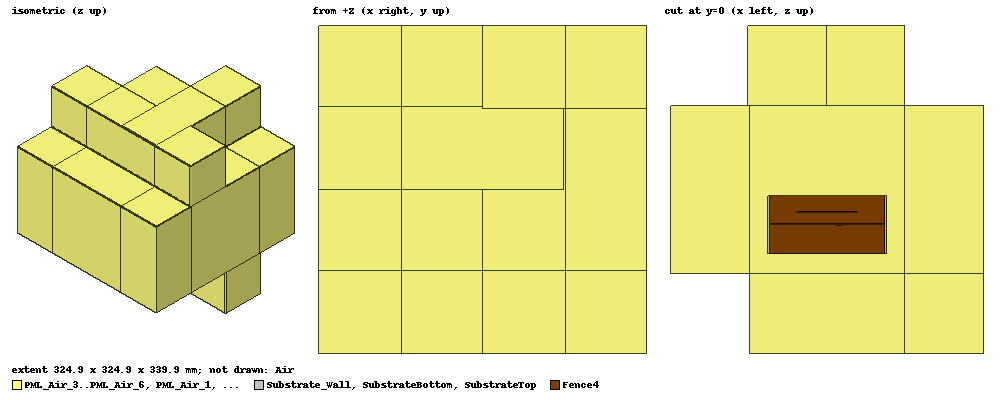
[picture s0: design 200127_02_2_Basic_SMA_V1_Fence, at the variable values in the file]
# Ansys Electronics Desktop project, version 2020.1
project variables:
  $Er = 4.45
  $W = 10mm
  $L = 10mm
  $h = 1.6mm
  $y0 = 9mm
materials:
  FR4_new_Adj: permittivity=$Er dielectric_loss_tangent=0.019 delta_H_freq=1000000
  PMLGroup1_XYZ_9: permittivity{anisotropic component1=1.1629501 component2=1.1629501 component3=1.1629501} permeability{anisotropic component1=1.1629501 component2=1.1629501 component3=1.1629501} dielectric_loss_tangent{anisotropic component1=1 component2=1 component3=1} magnetic_loss_tangent{anisotropic component1=1 component2=1 component3=1}
  PMLGroup1_XZ_9: permittivity{anisotropic component1=1 component2=0.01 component3=1} permeability{anisotropic component1=1 component2=0.01 component3=1} dielectric_loss_tangent{anisotropic component1=0 component2=270.4906 component3=0} magnetic_loss_tangent{anisotropic component1=0 component2=270.4906 component3=0}
  PMLGroup1_YZ_9: permittivity{anisotropic component1=0.01 component2=1 component3=1} permeability{anisotropic component1=0.01 component2=1 component3=1} dielectric_loss_tangent{anisotropic component1=270.4906 component2=0 component3=0} magnetic_loss_tangent{anisotropic component1=270.4906 component2=0 component3=0}
  PMLGroup1_Z_9: permittivity{anisotropic component1=1.1629501 component2=1.1629501 component3=0.42994105} permeability{anisotropic component1=1.1629501 component2=1.1629501 component3=0.42994105} dielectric_loss_tangent{anisotropic component1=1 component2=1 component3=-1} magnetic_loss_tangent{anisotropic component1=1 component2=1 component3=-1}
  Teflon (tm): permittivity=2.1 dielectric_loss_tangent=0.001
  copper: permeability=0.999991 conductivity=58000000
  vacuum: permittivity=1
  PMLGroup1_Z_10: permittivity{anisotropic component1=1.1629501 component2=1.1629501 component3=0.42994105} permeability{anisotropic component1=1.1629501 component2=1.1629501 component3=0.42994105} dielectric_loss_tangent{anisotropic component1=1 component2=1 component3=-1} magnetic_loss_tangent{anisotropic component1=1 component2=1 component3=-1}
  PMLGroup1_XZ_10: permittivity{anisotropic component1=1 component2=0.01 component3=1} permeability{anisotropic component1=1 component2=0.01 component3=1} dielectric_loss_tangent{anisotropic component1=0 component2=270.4906 component3=0} magnetic_loss_tangent{anisotropic component1=0 component2=270.4906 component3=0}
  PMLGroup1_YZ_10: permittivity{anisotropic component1=0.01 component2=1 component3=1} permeability{anisotropic component1=0.01 component2=1 component3=1} dielectric_loss_tangent{anisotropic component1=270.4906 component2=0 component3=0} magnetic_loss_tangent{anisotropic component1=270.4906 component2=0 component3=0}
  PMLGroup1_XYZ_10: permittivity{anisotropic component1=1.1629501 component2=1.1629501 component3=1.1629501} permeability{anisotropic component1=1.1629501 component2=1.1629501 component3=1.1629501} dielectric_loss_tangent{anisotropic component1=1 component2=1 component3=1} magnetic_loss_tangent{anisotropic component1=1 component2=1 component3=1}

design 200127_02_2_Basic_SMA_V1_Fence (HFSS, DrivenModal, model units mm)
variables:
  W = 34.4mm  # optimise 16.75mm..50.25mm
  L = W
  y0 = 3mm
  Lg = 40mm
  Wg = 40mm
  del_gnd = 122.45mm
  CoaxPin_R = 0.65mm
  Copper_T = 0.035mm
  CoaxLen = 1mm
  CoaxInner_R = 2.075mm
  PCB_T = 1.55mm
  Patch1_H = PCB_T
  Probe_y = W2/2-0.7mm
  ScaleFac = 1.75
  W2 = 28.76mm  # optimise 14mm..42mm
  L2 = W2
  Patch2_H = 3.235mm
  EBG_miniY = EBG_miniX
  EBG_Gap = 0.2mm
  EBG_miniX = 6.6mm
  EBG_Y = 2*(EBG_miniY+EBG_minGap)-EBG_Gap
  Sub_Z = 3.2mm
  GND_Z = 0.035mm
  EBG_X = 2*(EBG_miniX+EBG_minGap)-EBG_Gap
  Sub_Y = EBG_Y+EBG_Gap/2
  Sub_X = EBG_X + EBG_Gap/2
  EBG_Ncells = 5
  EBG_minGap = 0.2mm
  EBG_Nrows = 1
  EBG_Rpin = 0.5mm
  EBG_minRpin = 0.8mm
  EBG_Pin_Gap = 0.7mm
  diff = 2.5mm
  aGap = 11mm
  xNum = 1
  yNum = 1
  Wp = 62.5mm
  Lp = Wp
  wh = 60mm
  wz = -30mm
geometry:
  Coax = cylinder(axis=Z, base_centre=(0, 0, 0), radius=CoaxInner_R, height=-CoaxLen)
  Air [vacuum] = box(corner=(-Wg*4/2, -Lg*4/2, -CoaxLen-50mm), size=(Wg*(xNum+3), Lg*(yNum+3), 175mm))
  Outer_conductor = cylinder(axis=Z, base_centre=(0, 0, 0), radius=CoaxInner_R+0.5mm, height=-CoaxLen)
  Coax1 = cylinder(axis=Z, base_centre=(0, 0, 0), radius=CoaxInner_R, height=-CoaxLen)
  Outer_conductor.subtract(Coax1)
  coordinate_system RelativeProbe = origin=(0mm, 0, 0mm) x=(1mm, 0mm, 0mm) y=(0mm, 1mm, 0mm)
  GND = box(corner=(-Wg*3/2, -Lg*3/2, 0mm), size=(Wg*(xNum+2), Lg*(yNum+2), -Copper_T))
  GND_Cutout = cylinder(axis=Z, base_centre=(0mm, 0mm, 0mm), radius=CoaxInner_R, height=-Copper_T)
  Coax_Pin_Dielectric_Cut = cylinder(axis=Z, base_centre=(0, 0, Patch1_H), radius=CoaxPin_R, height=-(CoaxLen+Patch1_H))
  Coax.subtract(Coax_Pin_Dielectric_Cut)
  [Coax, GND_Cutout, Outer_conductor].move(0mm, Probe_y, 0mm) in RelativeProbe
  GND_Cutout_1 = GND_Cutout.duplicate_around_axis(axis=Z, angle=-90deg, total=2) in RelativeProbe
  GND_Cutout.delete()
  Outer_conductor_1 = Outer_conductor.duplicate_around_axis(axis=Z, angle=-90deg, total=2) in RelativeProbe
  Outer_conductor.delete()
  Coax_1 [Teflon (tm)] = Coax.duplicate_around_axis(axis=Z, angle=-90deg, total=2) in RelativeProbe
  Coax.delete()
  SubstrateBottom [FR4_new_Adj] = box(corner=(-119.93mm/2, -119.93mm/2, Patch1_H), size=(Wg*(xNum+2)-0.07mm, Lg*(yNum+2)-0.07mm, -PCB_T))
  coordinate_system RelativeProbe1 = origin=(0mm, 0, 0mm) x=(1mm, 0mm, 0mm) y=(0mm, 1mm, 0mm)
  Cylinder5 = cylinder(axis=Z, base_centre=(0, Probe_y, 0), radius=CoaxPin_R, height=PCB_T) in RelativeProbe1
  Cylinder5.rotate(axis=Z, angle=-90deg) in RelativeProbe1
  SubstrateBottom.move(0mm, 0mm, -(Patch1_H-PCB_T))
  Patch2 [copper] = box(corner=(-W2/2, -L2/2, PCB_T), size=(W2, L2, Copper_T))
  coordinate_system RelativeProbe2 = origin=(0mm, 0, 0mm) x=(1mm, 0mm, 0mm) y=(0mm, 1mm, 0mm)
  coordinate_system RelativeProbe3 = origin=(0mm, 0, 0mm) x=(1mm, 0mm, 0mm) y=(0mm, 1mm, 0mm)
  coordinate_system RelativeProbe4 = origin=(0mm, 0, 0mm) x=(1mm, 0mm, 0mm) y=(0mm, 1mm, 0mm)
  coordinate_system RelativeProbe5 = origin=(0mm, 0, 0mm) x=(1mm, 0mm, 0mm) y=(0mm, 1mm, 0mm)
  coordinate_system RelativeProbe6 = origin=(0mm, 0, 0mm) x=(1mm, 0mm, 0mm) y=(0mm, 1mm, 0mm)
  coordinate_system RelativeProbe7 = origin=(0mm, 0, 0mm) x=(1mm, 0mm, 0mm) y=(0mm, 1mm, 0mm)
  coordinate_system RelativeProbe8 = origin=(0mm, 0, 0mm) x=(1mm, 0mm, 0mm) y=(0mm, 1mm, 0mm)
  coordinate_system RelativeProbe9 = origin=(0mm, 0, 0mm) x=(1mm, 0mm, 0mm) y=(0mm, 1mm, 0mm)
  SubstrateTop [FR4_new_Adj] = box(corner=(-Wp/2, -Lp/2, PCB_T+Copper_T+aGap), size=(Wp, Lp, PCB_T))
  coordinate_system RelativeProbe10 = origin=(0mm, 0, 0mm) x=(1mm, 0mm, 0mm) y=(0mm, 1mm, 0mm)
  Patch3 [copper] = box(corner=(-W/2, -L/2, PCB_T*2+Copper_T+aGap), size=(W, L, Copper_T))
  Coax_Pin [copper] = cylinder(axis=Z, base_centre=(0, 0, -CoaxLen), radius=CoaxPin_R, height=CoaxLen+PCB_T) in RelativeProbe9
  Coax_Pin.move(Probe_y, 0, 0mm)
  coordinate_system RelativeProbe11 = origin=(0mm, 0, 0mm) x=(1mm, 0mm, 0mm) y=(0mm, 1mm, 0mm) in RelativeProbe9
  [Coax_1, Patch3, Patch2, Coax_Pin, Outer_conductor_1, GND_Cutout_1, Cylinder5].rotate(axis=Z, angle=180deg)
  coordinate_system RelativeProbe13 = origin=(0mm, 0, 0mm) x=(1mm, 0mm, 0mm) y=(0mm, 1mm, 0mm)
  Cylinder6 = cylinder(axis=Z, base_centre=(0, Probe_y, 0), radius=CoaxPin_R, height=PCB_T) in RelativeProbe13
  Cylinder6.rotate(axis=Z, angle=-90deg) in RelativeProbe13
  Cylinder6.rotate(axis=Z, angle=270deg)
  coordinate_system RelativeProbe12 = origin=(0mm, 0, 0mm) x=(1mm, 0mm, 0mm) y=(0mm, 1mm, 0mm)
  coordinate_system RelativeProbe14 = origin=(0mm, 0, 0mm) x=(1mm, 0mm, 0mm) y=(0mm, 1mm, 0mm)
  coordinate_system RelativeProbe16 = origin=(0mm, 0, 0mm) x=(1mm, 0mm, 0mm) y=(0mm, 1mm, 0mm)
  Cylinder7 = cylinder(axis=Z, base_centre=(0, Probe_y, 0), radius=CoaxPin_R, height=PCB_T) in RelativeProbe16
  Cylinder7.rotate(axis=Z, angle=-90deg) in RelativeProbe16
  Cylinder7.rotate(axis=Z, angle=90deg)
  coordinate_system RelativeProbe15 = origin=(0mm, 0, 0mm) x=(1mm, 0mm, 0mm) y=(0mm, 1mm, 0mm)
  coordinate_system RelativeProbe17 = origin=(0mm, 0, 0mm) x=(1mm, 0mm, 0mm) y=(0mm, 1mm, 0mm)
  coordinate_system RelativeProbe19 = origin=(0mm, 0, 0mm) x=(1mm, 0mm, 0mm) y=(0mm, 1mm, 0mm)
  Cylinder8 = cylinder(axis=Z, base_centre=(0, Probe_y, 0), radius=CoaxPin_R, height=PCB_T) in RelativeProbe19
  Cylinder8.rotate(axis=Z, angle=-90deg) in RelativeProbe19
  coordinate_system RelativeProbe18 = origin=(0mm, 0, 0mm) x=(1mm, 0mm, 0mm) y=(0mm, 1mm, 0mm)
  coordinate_system RelativeProbe20 = origin=(0mm, 0, 0mm) x=(1mm, 0mm, 0mm) y=(0mm, 1mm, 0mm)
  Cylinder6.move(200mm, 0mm, 0mm)
  Cylinder7.move(0mm, 200mm, 0mm)
  Cylinder8.move(200mm, 200mm, 0mm)
  SubstrateBottom.subtract(Cylinder5..Cylinder8)
  GND.subtract(GND_Cutout_1)
  GND.unite(Outer_conductor_1)
  coordinate_system FaceCS1 = face of Air: Origin=Air.vertex(1 of 8) FaceID=Air.face(+z) AxisPosn=Air.vertex(2 of 8) WhichAxis=X ZRotationAngle=0 XOffset=0 YOffset=0
  PML_Air_1 [PMLGroup1_Z_10, oriented by FaceCS1] = sweep_along_normal(Air.face(+z), length=82.444002mm)
  coordinate_system FaceCS2 = face of Air: Origin=Air.vertex(5 of 8) FaceID=Air.face(-z) AxisPosn=Air.vertex(6 of 8) WhichAxis=X ZRotationAngle=0 XOffset=0 YOffset=0
  PML_Air_2 [PMLGroup1_Z_10, oriented by FaceCS2] = sweep_along_normal(Air.face(-z), length=82.444002mm)
  coordinate_system FaceCS3 = face of Air: Origin=Air.vertex(4 of 8) FaceID=Air.face(-y) AxisPosn=Air.vertex(7 of 8) WhichAxis=X ZRotationAngle=0 XOffset=0 YOffset=0
  PML_Air_3 [PMLGroup1_Z_10, oriented by FaceCS3] = sweep_along_normal(Air.face(-y), length=82.444002mm)
  coordinate_system FaceCS4 = face of Air: Origin=Air.vertex(3 of 8) FaceID=Air.face(-x) AxisPosn=Air.vertex(8 of 8) WhichAxis=X ZRotationAngle=0 XOffset=0 YOffset=0
  PML_Air_4 [PMLGroup1_Z_10, oriented by FaceCS4] = sweep_along_normal(Air.face(-x), length=82.444002mm)
  coordinate_system FaceCS5 = face of Air: Origin=Air.vertex(2 of 8) FaceID=Air.face(+y) AxisPosn=Air.vertex(5 of 8) WhichAxis=X ZRotationAngle=0 XOffset=0 YOffset=0
  PML_Air_5 [PMLGroup1_Z_10, oriented by FaceCS5] = sweep_along_normal(Air.face(+y), length=82.444002mm)
  coordinate_system FaceCS6 = face of Air: Origin=Air.vertex(1 of 8) FaceID=Air.face(+x) AxisPosn=Air.vertex(6 of 8) WhichAxis=X ZRotationAngle=0 XOffset=0 YOffset=0
  PML_Air_6 [PMLGroup1_Z_10, oriented by FaceCS6] = sweep_along_normal(Air.face(+x), length=82.444002mm)
  PML_Air_7 [PMLGroup1_XZ_10, oriented by FaceCS3] = sweep_along_normal(PML_Air_1.face(at (0, -80, 165.222)), length=82.444002mm)
  PML_Air_8 [PMLGroup1_XZ_10, oriented by FaceCS4] = sweep_along_normal(PML_Air_1.face(at (-80, 0, 165.222)), length=82.444002mm)
  PML_Air_9 [PMLGroup1_XZ_10, oriented by FaceCS5] = sweep_along_normal(PML_Air_1.face(at (0, 80, 165.222)), length=82.444002mm)
  PML_Air_10 [PMLGroup1_YZ_10, oriented by FaceCS1] = sweep_along_normal(PML_Air_1.face(at (80, 0, 165.222)), length=82.444002mm)
  coordinate_system FaceCS7 = face of Air: Origin=Air.vertex(6 of 8) FaceID=Air.face(-z) AxisPosn=Air.vertex(7 of 8) WhichAxis=X ZRotationAngle=0 XOffset=0 YOffset=0
  PML_Air_11 [PMLGroup1_YZ_10, oriented by FaceCS7] = sweep_along_normal(PML_Air_2.face(at (0, -80, -92.222)), length=82.444002mm)
  coordinate_system FaceCS8 = face of Air: Origin=Air.vertex(7 of 8) FaceID=Air.face(-z) AxisPosn=Air.vertex(8 of 8) WhichAxis=X ZRotationAngle=0 XOffset=0 YOffset=0
  PML_Air_12 [PMLGroup1_YZ_10, oriented by FaceCS8] = sweep_along_normal(PML_Air_2.face(at (-80, 0, -92.222)), length=82.444002mm)
  PML_Air_13 [PMLGroup1_XZ_10, oriented by FaceCS2] = sweep_along_normal(PML_Air_2.face(at (0, 80, -92.222)), length=82.444002mm)
  PML_Air_14 [PMLGroup1_YZ_10, oriented by FaceCS2] = sweep_along_normal(PML_Air_2.face(at (80, 0, -92.222)), length=82.444002mm)
  PML_Air_15 [PMLGroup1_YZ_10, oriented by FaceCS3] = sweep_along_normal(PML_Air_3.face(at (-80, -121.222, 36.5)), length=82.444002mm)
  PML_Air_16 [PMLGroup1_YZ_10, oriented by FaceCS6] = sweep_along_normal(PML_Air_3.face(at (80, -121.222, 36.5)), length=82.444002mm)
  PML_Air_17 [PMLGroup1_YZ_10, oriented by FaceCS4] = sweep_along_normal(PML_Air_4.face(at (-121.222, 80, 36.5)), length=82.444002mm)
  PML_Air_18 [PMLGroup1_YZ_10, oriented by FaceCS5] = sweep_along_normal(PML_Air_5.face(at (80, 121.222, 36.5)), length=82.444002mm)
  PML_Air_19 [PMLGroup1_XYZ_10, oriented by FaceCS3] = sweep_along_normal(PML_Air_7.face(at (-80, -121.222, 165.222)), length=82.444002mm)
  PML_Air_20 [PMLGroup1_XYZ_10, oriented by FaceCS1] = sweep_along_normal(PML_Air_7.face(at (80, -121.222, 165.222)), length=82.444002mm)
  PML_Air_21 [PMLGroup1_XYZ_10, oriented by FaceCS4] = sweep_along_normal(PML_Air_8.face(at (-121.222, 80, 165.222)), length=82.444002mm)
  PML_Air_22 [PMLGroup1_XYZ_10, oriented by FaceCS5] = sweep_along_normal(PML_Air_9.face(at (80, 121.222, 165.222)), length=82.444002mm)
  PML_Air_23 [PMLGroup1_XYZ_10, oriented by FaceCS8] = sweep_along_normal(PML_Air_11.face(at (-80, -121.222, -92.222)), length=82.444002mm)
  PML_Air_24 [PMLGroup1_XYZ_10, oriented by FaceCS7] = sweep_along_normal(PML_Air_11.face(at (80, -121.222, -92.222)), length=82.444002mm)
  coordinate_system FaceCS9 = face of Air: Origin=Air.vertex(8 of 8) FaceID=Air.face(-z) AxisPosn=Air.vertex(5 of 8) WhichAxis=X ZRotationAngle=0 XOffset=0 YOffset=0
  PML_Air_25 [PMLGroup1_XYZ_10, oriented by FaceCS9] = sweep_along_normal(PML_Air_12.face(at (-121.222, 80, -92.222)), length=82.444002mm)
  PML_Air_26 [PMLGroup1_XYZ_10, oriented by FaceCS2] = sweep_along_normal(PML_Air_13.face(at (80, 121.222, -92.222)), length=82.444002mm)
  Substrate_Wall [FR4_new_Adj] = box(corner=(-60mm-pcb_T, -60mm-PCB_T, wz), size=(120mm+PCB_T*2, 120mm+PCB_T*2, wh))
  Substrate_Wall.move(0mm, 0mm, -(Patch1_H-PCB_T))
  Substrate_Wall1 = box(corner=(-60mm, -60mm, wz), size=(120mm, 120mm, wh))
  Substrate_Wall1.move(0mm, 0mm, -(Patch1_H-PCB_T))
  Substrate_Wall.subtract(Substrate_Wall1)
  Rectangle1 = rectangle(corner=(60mm, 60mm, 30mm), y_size=-120mm, z_size=-60mm, uncovered)
  Fence1 = box(corner=(60mm, 60mm, 30mm), size=(-Copper_T, -120mm, -60mm))
  Fence2 = box(corner=(-60mm, 60mm, 30mm), size=(Copper_T, -120mm, -60mm))
  Fence3 = box(corner=(-59.965mm, 60mm, 30mm), size=(119.965mm, -Copper_T, -60mm))
  Fence4 [copper] = box(corner=(59.965mm, -60mm, 30mm), size=(-119.965mm, Copper_T, -60mm))
  Fence4.unite(Fence1, Fence2, Fence3)
  Fence4.unite(GND)
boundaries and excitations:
  PML_radiation1: Radiation Faces=Air.face(+z) IsForPML
  PML_radiation2: Radiation Faces=Air.face(-z) IsForPML
  PML_radiation3: Radiation Faces=Air.face(-y) IsForPML
  PML_radiation4: Radiation Faces=Air.face(-x) IsForPML
  PML_radiation5: Radiation Faces=Air.face(+y) IsForPML
  PML_radiation6: Radiation Faces=Air.face(+x) IsForPML
  PerfE1: Perfect E Faces=Substrate_Wall.face(at (-60, 0, 0), at (0, -60, 0), at (60, 0, 0), at (0, 60, 0))
  1: Lumped Port Faces=Coax_1.face(3 of 4) Modes{Mode1{IntLine{Coax_1.edge(3 of 4) at 0.25 along -> Coax_1.edge(2 of 4) at -0.25 along} CharImp=Zpi RenormImp=50ohm}} Impedance=50ohm
  reference conductors: GND
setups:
  Setup1: HfssDriven AdaptMultipleFreqs MultipleAdaptiveFreqsSetup{2.4GHz(0.02) 2.45GHz(0.02)} MaximumPasses=30 MinimumPasses=8 MinimumConvergedPasses=1 PercentRefinement=20 BasisOrder=1 PortAccuracy=2
    sweep Sweep: 2GHz to 3GHz, 41 points; Type=Discrete SaveFields
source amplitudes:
  1:1: 1W 0deg
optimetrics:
  ParametricSetup1: Parametric Sim._Setups=[Setup1]
    sweep aGap: LIN 8mm 12mm 1mm
  OptimizationSetup1: Optimization Optimizer="Pattern Search" AnalysisStopOptions{StopForNumIteration MaxNumIteration=1000 MinNumIteration=10} CostFuncNormType=L2 Acceptable_Cost=0 Noise=0.0001 UpdateDesignWhenDone
    vary W: Min=28mm Max=34mm MinStep=0.335mm MaxStep=3.35mm MinFocus=16.75mm MaxFocus=50.25mm start=33.5mm
    vary W2: Min=26mm Max=32mm MinStep=0.28mm MaxStep=2.8mm MinFocus=14mm MaxFocus=42mm start=28mm
    goal dB(S(1,1)) <= -14 weight 1 on Setup1 : Sweep at Freq 2.35GHz to 2.55GHz
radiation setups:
  Infinite Sphere1: Infinite Sphere Theta=-180deg..180deg step 1deg Phi=-180deg..180deg step 1deg
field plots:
  Mag_E1: E Field over Patch2.face(all 6) Patch3.face(all 6) on Setup1 : LastAdaptive at Freq=2.4GHz Phase=0deg
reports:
  S Parameter Plot 1: dB(S(1,1)) vs Freq on Setup1 : Sweep [aGap=all]
